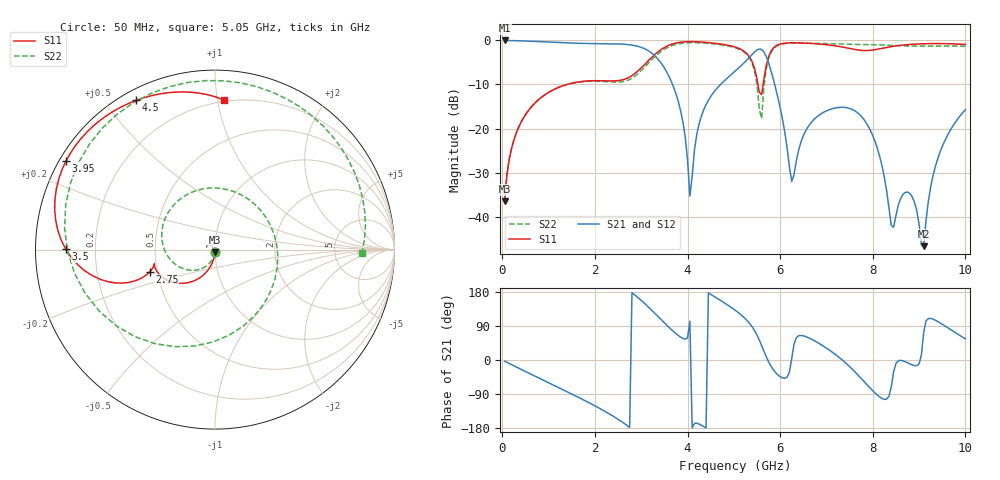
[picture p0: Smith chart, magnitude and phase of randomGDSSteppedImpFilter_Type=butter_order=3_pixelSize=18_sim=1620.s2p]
! freq	dB(S11)	phase(S11)	dB(S12)	phase(S12)
!  dB(S21)	phase(S21)	dB(S22)	phase(S22)
!S-par simulation data
#  GHz  S  DB  R 50
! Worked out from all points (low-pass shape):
!   200 points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, 50 MHz to 10 GHz, reference 50 ohm
!   highest |S21| = 0.00 dB at 50 MHz (marker M1); lowest = -46.7 dB at 9.1 GHz (marker M2)
!   |S21| within 3 dB of the highest: start of sweep to 3.242 GHz; 5.411 GHz to 5.668 GHz (256.9 MHz wide, 4.64 % of centre)
!   lowest |S11| = -36.5 dB at 50 MHz (marker M3), VSWR 1.03, Z = 49.9 - j1.49 ohm
!   |S11| at or under -10 dB: start of sweep to 1.394 GHz; 5.52 GHz to 5.633 GHz (112.1 MHz wide, 2.01 % of centre)
!   |S22| runs from -36.5 to -0.5 dB; largest |S21 - S12| = 0
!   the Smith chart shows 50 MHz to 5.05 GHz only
!   S11 on the Smith chart (normalised r, x): 50 MHz: 1.00, -0.03; 2.75 GHz: 0.45, -0.13; 3.5 GHz: 0.09, +0.00; 3.95 GHz: 0.02, +0.27; 4.5 GHz: 0.04, +0.60; 5.05 GHz: 0.19, +1.05
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0.05  -36.49 -92.3  -0.00 -3.1  -0.00 -3.1  -36.51 -93.9
0.5  -16.86 -112.6  -0.13 -30.3  -0.13 -30.3  -16.89 -129.1
1.75  -9.28 -158.3  -0.68 -105.0  -0.68 -105.0  -9.35 127.4
2.75  -8.30 -161.1  -0.98 -177.8  -0.98 -177.8  -8.86 -15.9
3.4  -2.29 -173.6  -4.72 110.0  -4.72 110.0  -2.73 -152.0
3.5  -1.60 179.9  -6.24 97.8  -6.24 97.8  -2.00 -170.5
3.95  -0.30 149.3  -21.91 54.9  -21.91 54.9  -0.57 118.5
4.05  -0.27 143.1  -35.35 102.4  -35.35 102.4  -0.51 105.4
4.5  -0.53 117.8  -12.73 173.4  -12.73 173.4  -0.72 54.1
5.05  -1.57 86.5  -6.77 129.4  -6.77 129.4  -1.74 -1.3
5.6  -12.30 101.9  -2.06 38.4  -2.06 38.4  -17.74 18.5
5.7  -5.68 120.0  -3.66 8.6  -3.66 8.6  -6.43 31.8
6.25  -0.54 58.7  -32.02 3.8  -32.02 3.8  -0.60 -45.2
6.7  -0.70 22.7  -18.27 53.5  -18.27 53.5  -0.64 -79.1
7.2  -1.24 -28.4  -15.32 14.0  -15.32 14.0  -0.80 -112.4
7.6  -2.02 -93.2  -15.90 -29.4  -15.90 -29.4  -0.90 -139.6
7.95  -2.24 -171.1  -20.47 -75.0  -20.47 -75.0  -0.95 -166.3
8.35  -1.49 111.9  -38.04 -95.4  -38.04 -95.4  -1.09 158.1
8.8  -0.91 57.3  -34.74 -10.2  -34.74 -10.2  -1.26 111.0
9.1  -0.75 31.2  -46.72 73.1  -46.72 73.1  -1.30 76.3
9.4  -0.71 9.2  -26.93 101.7  -26.93 101.7  -1.28 41.3
10  -0.92 -28.7  -15.71 55.8  -15.71 55.8  -1.34 -21.1
